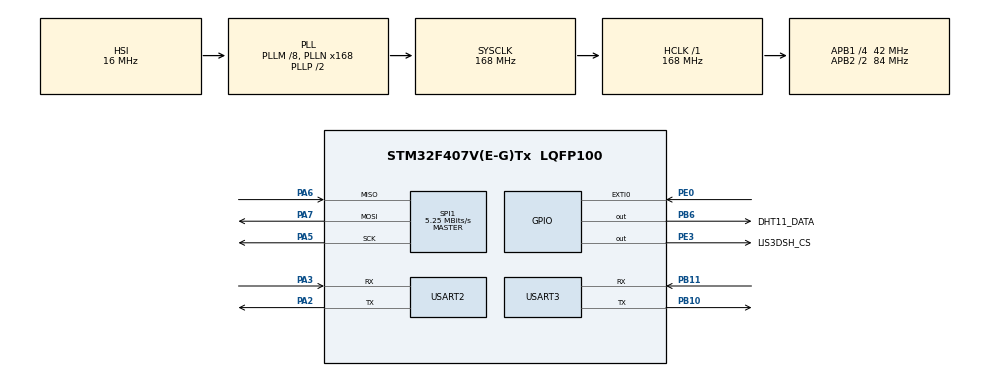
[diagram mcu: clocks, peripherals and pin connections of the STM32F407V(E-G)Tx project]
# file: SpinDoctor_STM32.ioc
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ADC1.Channel-0\#ChannelRegularConversion=ADC_CHANNEL_TEMPSENSOR
ADC1.ContinuousConvMode=ENABLE
ADC1.DMAContinuousRequests=ENABLE
ADC1.NbrOfConversionFlag=1
ADC1.Rank-0\#ChannelRegularConversion=1
ADC1.SamplingTime-0\#ChannelRegularConversion=ADC_SAMPLETIME_480CYCLES
ADC1.master=1
Dma.ADC1.2.Direction=DMA_PERIPH_TO_MEMORY
Dma.ADC1.2.FIFOMode=DMA_FIFOMODE_DISABLE
Dma.ADC1.2.Instance=DMA2_Stream4
Dma.ADC1.2.MemDataAlignment=DMA_MDATAALIGN_HALFWORD
Dma.ADC1.2.MemInc=DMA_MINC_ENABLE
Dma.ADC1.2.Mode=DMA_CIRCULAR
Dma.ADC1.2.PeriphDataAlignment=DMA_PDATAALIGN_HALFWORD
Dma.ADC1.2.PeriphInc=DMA_PINC_DISABLE
Dma.ADC1.2.Priority=DMA_PRIORITY_LOW
Dma.Request0=SPI1_RX
Dma.Request1=SPI1_TX
Dma.Request2=ADC1
Dma.Request3=USART2_TX
Dma.SPI1_RX.0.Direction=DMA_PERIPH_TO_MEMORY
Dma.SPI1_RX.0.FIFOMode=DMA_FIFOMODE_DISABLE
Dma.SPI1_RX.0.Instance=DMA2_Stream0
Dma.SPI1_RX.0.MemDataAlignment=DMA_MDATAALIGN_BYTE
Dma.SPI1_RX.0.MemInc=DMA_MINC_ENABLE
Dma.SPI1_RX.0.Mode=DMA_NORMAL
Dma.SPI1_RX.0.PeriphDataAlignment=DMA_PDATAALIGN_BYTE
Dma.SPI1_RX.0.PeriphInc=DMA_PINC_DISABLE
Dma.SPI1_RX.0.Priority=DMA_PRIORITY_LOW
Dma.SPI1_TX.1.Direction=DMA_MEMORY_TO_PERIPH
Dma.SPI1_TX.1.FIFOMode=DMA_FIFOMODE_DISABLE
Dma.SPI1_TX.1.Instance=DMA2_Stream3
Dma.SPI1_TX.1.MemDataAlignment=DMA_MDATAALIGN_BYTE
Dma.SPI1_TX.1.MemInc=DMA_MINC_ENABLE
Dma.SPI1_TX.1.Mode=DMA_NORMAL
Dma.SPI1_TX.1.PeriphDataAlignment=DMA_PDATAALIGN_BYTE
Dma.SPI1_TX.1.PeriphInc=DMA_PINC_DISABLE
Dma.SPI1_TX.1.Priority=DMA_PRIORITY_LOW
Dma.USART2_TX.3.Direction=DMA_MEMORY_TO_PERIPH
Dma.USART2_TX.3.FIFOMode=DMA_FIFOMODE_DISABLE
Dma.USART2_TX.3.Instance=DMA1_Stream6
Dma.USART2_TX.3.MemDataAlignment=DMA_MDATAALIGN_BYTE
Dma.USART2_TX.3.MemInc=DMA_MINC_ENABLE
Dma.USART2_TX.3.Mode=DMA_NORMAL
Dma.USART2_TX.3.PeriphDataAlignment=DMA_PDATAALIGN_BYTE
Dma.USART2_TX.3.PeriphInc=DMA_PINC_DISABLE
Dma.USART2_TX.3.Priority=DMA_PRIORITY_LOW
FREERTOS.BinarySemaphores01=uartTxSemaphore,Dynamic,NULL,Available;captureDataReady,Dynamic,NULL,Available;captureRxByteReady,Dynamic,NULL,Available
FREERTOS.Mutexes01=diagnosticsMutex,Dynamic,NULL,Available;printfMutex,Dynamic,NULL,Available
FREERTOS.Tasks01=AccelTask,0,512,StartAccelTask,Default,NULL,Dynamic,NULL,NULL;DHT11Task,-2,256,StartDHT11Task,Default,NULL,Dynamic,NULL,NULL;WatchdogTask,-2,512,StartWatchdogTask,Default,NULL,Dynamic,NULL,NULL;CaptureTask,-1,512,StartCaptureTask,Default,NULL,Dynamic,NULL,NULL;InferenceTask,-1,1024,StartInferenceTask,Default,NULL,Dynamic,NULL,NULL
FREERTOS.configCHECK_FOR_STACK_OVERFLOW=2
FREERTOS.configENABLE_FPU=1
FREERTOS.configUSE_NEWLIB_REENTRANT=1
IWDG.Prescaler=IWDG_PRESCALER_32
IWDG.Reload=1999
Mcu.Family=STM32F4
Mcu.Name=STM32F407V(E-G)Tx
Mcu.Package=LQFP100
NVIC.DMA1_Stream6_IRQn=true\:5\:0\:false\:false\:true\:true\:false\:true\:true
NVIC.DMA2_Stream0_IRQn=true\:5\:0\:false\:false\:true\:true\:false\:true\:true
NVIC.DMA2_Stream3_IRQn=true\:5\:0\:false\:false\:true\:true\:false\:true\:true
NVIC.DMA2_Stream4_IRQn=true\:5\:0\:false\:false\:true\:true\:false\:true\:true
NVIC.EXTI0_IRQn=true\:5\:0\:false\:false\:true\:true\:true\:true\:true
NVIC.PriorityGroup=NVIC_PRIORITYGROUP_4
NVIC.SPI1_IRQn=true\:5\:0\:false\:false\:true\:true\:true\:true\:true
NVIC.TIM6_DAC_IRQn=true\:15\:0\:false\:false\:true\:false\:false\:true\:true
NVIC.TimeBase=TIM6_DAC_IRQn
NVIC.TimeBaseIP=TIM6
NVIC.USART2_IRQn=true\:5\:0\:false\:false\:true\:true\:true\:true\:true
PA2.Mode=Asynchronous
PA2.Signal=USART2_TX
PA3.Mode=Asynchronous
PA3.Signal=USART2_RX
PA5.Mode=Full_Duplex_Master
PA5.Signal=SPI1_SCK
PA6.Mode=Full_Duplex_Master
PA6.Signal=SPI1_MISO
PA7.Mode=Full_Duplex_Master
PA7.Signal=SPI1_MOSI
PB10.Mode=Asynchronous
PB10.Signal=USART3_TX
PB11.Mode=Asynchronous
PB11.Signal=USART3_RX
PB6.GPIO_Label=DHT11_DATA
PB6.GPIO_ModeDefaultOutputPP=GPIO_MODE_OUTPUT_OD
PB6.GPIO_PuPd=GPIO_PULLUP
PB6.PinState=GPIO_PIN_SET
PB6.Signal=GPIO_Output
PE0.Signal=GPXTI0
PE3.GPIO_Label=LIS3DSH_CS
PE3.PinState=GPIO_PIN_SET
PE3.Signal=GPIO_Output
ProjectManager.HeapSize=0x200
ProjectManager.StackSize=0x400
ProjectManager.TargetToolchain=STM32CubeIDE
RCC.48MHZClocksFreq_Value=84000000
RCC.AHBFreq_Value=168000000
RCC.APB1CLKDivider=RCC_HCLK_DIV4
RCC.APB1Freq_Value=42000000
RCC.APB1TimFreq_Value=84000000
RCC.APB2CLKDivider=RCC_HCLK_DIV2
RCC.APB2Freq_Value=84000000
RCC.APB2TimFreq_Value=168000000
RCC.CortexFreq_Value=168000000
RCC.HCLKFreq_Value=168000000
RCC.HSE_VALUE=25000000
RCC.HSI_VALUE=16000000
RCC.LSE_VALUE=32768
RCC.PLLM=8
RCC.PLLN=168
RCC.SYSCLKFreq_VALUE=168000000
RCC.SYSCLKSource=RCC_SYSCLKSOURCE_PLLCLK
RCC.VCOOutputFreq_Value=336000000
SPI1.BaudRatePrescaler=SPI_BAUDRATEPRESCALER_16
SPI1.CLKPhase=SPI_PHASE_2EDGE
SPI1.CLKPolarity=SPI_POLARITY_HIGH
SPI1.CalculateBaudRate=5.25 MBits/s
SPI1.Direction=SPI_DIRECTION_2LINES
SPI1.Mode=SPI_MODE_MASTER
SPI1.VirtualType=VM_MASTER
USART2.VirtualMode=VM_ASYNC
USART3.VirtualMode=VM_ASYNC
VP_ADC1_TempSens_Input.Mode=IN-TempSens
VP_FREERTOS_VS_CMSIS_V1.Mode=CMSIS_V1
VP_IWDG_VS_IWDG.Mode=IWDG_Activate
VP_SYS_VS_tim6.Mode=TIM6
board=custom

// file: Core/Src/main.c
/* USER CODE BEGIN Header */
/**
  ******************************************************************************
  * @file           : main.c
  * @brief          : Main program body
  ******************************************************************************
  * @attention
  *
  * Copyright (c) 2026 STMicroelectronics.
  * All rights reserved.
  *
  * This software is licensed under terms that can be found in the LICENSE file
  * in the root directory of this software component.
  * If no LICENSE file comes with this software, it is provided AS-IS.
  *
  ******************************************************************************
  */
/* USER CODE END Header */
#include "main.h"
#include "cmsis_os.h"

/* USER CODE BEGIN Includes */
#include <stdio.h>
#include <LIS3DSHTR.h>
#include "DHT11.h"
#include "NanoEdgeAI.h"

/* USER CODE END Includes */

ADC_HandleTypeDef hadc1;
DMA_HandleTypeDef hdma_adc1;

IWDG_HandleTypeDef hiwdg;

SPI_HandleTypeDef hspi1;
DMA_HandleTypeDef hdma_spi1_rx;
DMA_HandleTypeDef hdma_spi1_tx;

UART_HandleTypeDef huart2;
UART_HandleTypeDef huart3;
DMA_HandleTypeDef hdma_usart2_tx;

osThreadId AccelTaskHandle;
osThreadId DHT11TaskHandle;
osThreadId WatchdogTaskHandle;
osThreadId CaptureTaskHandle;
osThreadId InferenceTaskHandle;
osMutexId diagnosticsMutexHandle;
osMutexId printfMutexHandle;
osSemaphoreId uartTxSemaphoreHandle;
osSemaphoreId captureDataReadyHandle;
osSemaphoreId captureRxByteReadyHandle;
/* USER CODE BEGIN PV */
LIS3_HandleTypeDef hlis;
LIS3_DataTypeDef   data;

/* Single-element circular DMA buffer for ADC1 temperature reads.
 * volatile because DMA writes it from hardware, not CPU code.
 * uint16_t because ADC is 12-bit (max 4095), needs 16-bit storage. */
volatile uint16_t adc_temp_raw;

/* DWT cycle counter, used for precise microsecond delays needed by
 * the 1-Wire protocol. Cortex-M4 core feature, not a normal STM32
 * peripheral, has nothing to do with HAL and needs no CubeMX setup. */
#define DWT_CYCCNT  (*(volatile uint32_t*)0xE0001004)
#define DWT_CTRL    (*(volatile uint32_t*)0xE0001000)
#define DEM_CR      (*(volatile uint32_t*)0xE000EDFC)

DiagnosticsData diagnostics = {0};

#define CAPTURE_BUF_SIZE 64   /* samples per axis per buffer, matches
                                 * original FFT window sizing rationale:
                                 * enough periods per buffer at expected
                                 * fan RPM, arbitrary otherwise for raw
                                 * capture, NanoEdge does its own windowing */
#define CAPTURE_WINDOW_COUNT 350   /* ~56s at 400Hz / 64-sample windows,
 	 	 	 	 	 	 	 	 	 * bumped from 156 to give NanoEdge more
 	 	 	 	 	 	 	 	 	 * examples of speed1_healthy specifically */

int16_t capture_buf_x[2][CAPTURE_BUF_SIZE];
int16_t capture_buf_y[2][CAPTURE_BUF_SIZE];
int16_t capture_buf_z[2][CAPTURE_BUF_SIZE];
volatile uint8_t capture_fill_idx = 0;
volatile uint16_t capture_sample_count = 0;
volatile uint8_t capture_ready_idx = 0;

/* Set true only while an active capture window is streaming; AccelTask
 * checks this before bothering to fill the capture buffers or release
 * the semaphore, so there's zero extra work happening between capture
 * sessions. */
volatile uint8_t capture_active = 0;

uint8_t uart_rx_byte;
/* USER CODE END PV */

void SystemClock_Config(void);
static void MX_GPIO_Init(void);
static void MX_DMA_Init(void);
static void MX_SPI1_Init(void);
static void MX_USART2_UART_Init(void);
static void MX_ADC1_Init(void);
static void MX_IWDG_Init(void);
static void MX_USART3_UART_Init(void);
void StartAccelTask(void const * argument);
void StartDHT11Task(void const * argument);
void StartWatchdogTask(void const * argument);
void StartCaptureTask(void const * argument);
void StartInferenceTask(void const * argument);

int main(void)
{

  /* MCU Configuration--------------------------------------------------------*/

  /* Reset of all peripherals, Initializes the Flash interface and the Systick. */
  HAL_Init();

  /* Configure the system clock */
  SystemClock_Config();

  /* Initialize all configured peripherals */
  MX_GPIO_Init();
  MX_DMA_Init();
  MX_SPI1_Init();
  MX_USART2_UART_Init();
  MX_ADC1_Init();
  MX_IWDG_Init();
  MX_USART3_UART_Init();
  /* USER CODE BEGIN 2 */
  hlis.hspi    = &hspi1;
    hlis.cs_port = GPIOE;
    hlis.cs_pin  = GPIO_PIN_3;

    LIS3_Init(&hlis);                                                /* sets ODR=400Hz, all axes enabled */
    LIS3_WriteReg(&hlis, LIS3_CTRL_REG3, LIS3_CTRL_REG3_DRDY_INT1);   /* NEW: routes DRDY to INT1/PE0, without
                                                                        this the chip never pulses PE0 and
                                                                        no EXTI interrupt ever fires */
    /* Enable the DWT cycle counter. Required by delay_us() and DHT11's
         * bit-timing. Missing since Session 8 cleanup, silently hangs
         * DHT11Task forever without it, no crash, just permanently stuck. */
        DEM_CR |= (1 << 24);
        DWT_CYCCNT = 0;
        DWT_CTRL |= 1;

    /* Start ADC1 in DMA circular mode. From this point the DMA keeps
     * adc_temp_raw updated automatically on every completed conversion,
     * no further software trigger needed. HAL_ADC_Start_DMA takes the
     * buffer pointer and length (1 element here, one channel only). */
    HAL_ADC_Start_DMA(&hadc1, (uint32_t*)&adc_temp_raw, 1);

    /* Start interrupt-driven UART receive for the capture menu. Blocking/
     * polling-mode HAL_UART_Receive doesn't coexist safely with DMA-based
     * TX already active on this same UART (used by printf), it can return
     * immediately with a busy/error state instead of genuinely blocking.
     * Interrupt-driven RX avoids that conflict entirely. */
    HAL_UART_Receive_IT(&huart2, &uart_rx_byte, 1);

    /* Initialize the NanoEdge AI classification model, loading the
     * pretrained SVM library generated from today's benchmark. Must be
     * called once before any neai_classification() calls. */
    enum neai_state neai_init_state = neai_classification_init();
    if (neai_init_state != NEAI_OK)
    {
        /* If the model fails to load, halt here rather than silently
         * running with an uninitialized classifier. */
        Error_Handler();
    }
  /* USER CODE END 2 */

  /* Create the mutex(es) */
  /* definition and creation of diagnosticsMutex */
  osMutexDef(diagnosticsMutex);
  diagnosticsMutexHandle = osMutexCreate(osMutex(diagnosticsMutex));

  /* definition and creation of printfMutex */
  osMutexDef(printfMutex);
  printfMutexHandle = osMutexCreate(osMutex(printfMutex));

  /* Create the semaphores(s) */
  /* definition and creation of uartTxSemaphore */
  osSemaphoreDef(uartTxSemaphore);
  uartTxSemaphoreHandle = osSemaphoreCreate(osSemaphore(uartTxSemaphore), 1);

  /* definition and creation of captureDataReady */
  osSemaphoreDef(captureDataReady);
  captureDataReadyHandle = osSemaphoreCreate(osSemaphore(captureDataReady), 1);

  /* definition and creation of captureRxByteReady */
  osSemaphoreDef(captureRxByteReady);
  captureRxByteReadyHandle = osSemaphoreCreate(osSemaphore(captureRxByteReady), 1);

  /* USER CODE BEGIN RTOS_SEMAPHORES */
  /* captureDataReadyHandle is created with 1 token by default in
   * CMSIS_V1 regardless of the "Available" GUI setting, drain it here
   * so CaptureTask correctly blocks until AccelTask actually signals a
   * completed window, rather than running once immediately on boot. */
  osSemaphoreWait(captureDataReadyHandle, 0);

  osSemaphoreWait(captureRxByteReadyHandle, 0);
  /* add semaphores, ... */
  /* USER CODE END RTOS_SEMAPHORES */

  /* Create the thread(s) */
  /* definition and creation of AccelTask */
  osThreadDef(AccelTask, StartAccelTask, osPriorityNormal, 0, 512);
  AccelTaskHandle = osThreadCreate(osThread(AccelTask), NULL);

  /* definition and creation of DHT11Task */
  osThreadDef(DHT11Task, StartDHT11Task, osPriorityLow, 0, 256);
  DHT11TaskHandle = osThreadCreate(osThread(DHT11Task), NULL);

  /* definition and creation of WatchdogTask */
  osThreadDef(WatchdogTask, StartWatchdogTask, osPriorityLow, 0, 512);
  WatchdogTaskHandle = osThreadCreate(osThread(WatchdogTask), NULL);

  /* definition and creation of CaptureTask */
  osThreadDef(CaptureTask, StartCaptureTask, osPriorityBelowNormal, 0, 512);
  CaptureTaskHandle = osThreadCreate(osThread(CaptureTask), NULL);

  /* definition and creation of InferenceTask */
  osThreadDef(InferenceTask, StartInferenceTask, osPriorityBelowNormal, 0, 1024);
  InferenceTaskHandle = osThreadCreate(osThread(InferenceTask), NULL);

  /* USER CODE BEGIN RTOS_THREADS */
  if (AccelTaskHandle == NULL)     { HAL_UART_Transmit(&huart2, (uint8_t*)"AccelTask FAILED\r\n", 18, HAL_MAX_DELAY); }
  if (DHT11TaskHandle == NULL)     { HAL_UART_Transmit(&huart2, (uint8_t*)"DHT11Task FAILED\r\n", 18, HAL_MAX_DELAY); }
  if (WatchdogTaskHandle == NULL)  { HAL_UART_Transmit(&huart2, (uint8_t*)"WatchdogTask FAILED\r\n", 21, HAL_MAX_DELAY); }
  if (CaptureTaskHandle == NULL)   { HAL_UART_Transmit(&huart2, (uint8_t*)"CaptureTask FAILED\r\n", 20, HAL_MAX_DELAY); }
  if (InferenceTaskHandle == NULL) { HAL_UART_Transmit(&huart2, (uint8_t*)"InferenceTask FAILED\r\n", 22, HAL_MAX_DELAY); }

  /* add threads, ... */
  /* USER CODE END RTOS_THREADS */

  /* Start scheduler */
  osKernelStart();

  /* We should never get here as control is now taken by the scheduler */

  /* Infinite loop */
  while (1)
  {

  }
}

void SystemClock_Config(void)
{
  RCC_OscInitTypeDef RCC_OscInitStruct = {0};
  RCC_ClkInitTypeDef RCC_ClkInitStruct = {0};

  /** Configure the main internal regulator output voltage
  */
  __HAL_RCC_PWR_CLK_ENABLE();
  __HAL_PWR_VOLTAGESCALING_CONFIG(PWR_REGULATOR_VOLTAGE_SCALE1);

  /** Initializes the RCC Oscillators according to the specified parameters
  * in the RCC_OscInitTypeDef structure.
  */
  RCC_OscInitStruct.OscillatorType = RCC_OSCILLATORTYPE_HSI|RCC_OSCILLATORTYPE_LSI;
  RCC_OscInitStruct.HSIState = RCC_HSI_ON;
  RCC_OscInitStruct.HSICalibrationValue = RCC_HSICALIBRATION_DEFAULT;
  RCC_OscInitStruct.LSIState = RCC_LSI_ON;
  RCC_OscInitStruct.PLL.PLLState = RCC_PLL_ON;
  RCC_OscInitStruct.PLL.PLLSource = RCC_PLLSOURCE_HSI;
  RCC_OscInitStruct.PLL.PLLM = 8;
  RCC_OscInitStruct.PLL.PLLN = 168;
  RCC_OscInitStruct.PLL.PLLP = RCC_PLLP_DIV2;
  RCC_OscInitStruct.PLL.PLLQ = 4;
  if (HAL_RCC_OscConfig(&RCC_OscInitStruct) != HAL_OK)
  {
    Error_Handler();
  }

  /** Initializes the CPU, AHB and APB buses clocks
  */
  RCC_ClkInitStruct.ClockType = RCC_CLOCKTYPE_HCLK|RCC_CLOCKTYPE_SYSCLK
                              |RCC_CLOCKTYPE_PCLK1|RCC_CLOCKTYPE_PCLK2;
  RCC_ClkInitStruct.SYSCLKSource = RCC_SYSCLKSOURCE_PLLCLK;
  RCC_ClkInitStruct.AHBCLKDivider = RCC_SYSCLK_DIV1;
  RCC_ClkInitStruct.APB1CLKDivider = RCC_HCLK_DIV4;
  RCC_ClkInitStruct.APB2CLKDivider = RCC_HCLK_DIV2;

  if (HAL_RCC_ClockConfig(&RCC_ClkInitStruct, FLASH_LATENCY_5) != HAL_OK)
  {
    Error_Handler();
  }
}

static void MX_ADC1_Init(void)
{

  ADC_ChannelConfTypeDef sConfig = {0};

  /** Configure the global features of the ADC (Clock, Resolution, Data Alignment and number of conversion)
  */
  hadc1.Instance = ADC1;
  hadc1.Init.ClockPrescaler = ADC_CLOCK_SYNC_PCLK_DIV4;
  hadc1.Init.Resolution = ADC_RESOLUTION_12B;
  hadc1.Init.ScanConvMode = DISABLE;
  hadc1.Init.ContinuousConvMode = ENABLE;
  hadc1.Init.DiscontinuousConvMode = DISABLE;
  hadc1.Init.ExternalTrigConvEdge = ADC_EXTERNALTRIGCONVEDGE_NONE;
  hadc1.Init.ExternalTrigConv = ADC_SOFTWARE_START;
  hadc1.Init.DataAlign = ADC_DATAALIGN_RIGHT;
  hadc1.Init.NbrOfConversion = 1;
  hadc1.Init.DMAContinuousRequests = ENABLE;
  hadc1.Init.EOCSelection = ADC_EOC_SINGLE_CONV;
  if (HAL_ADC_Init(&hadc1) != HAL_OK)
  {
    Error_Handler();
  }

  /** Configure for the selected ADC regular channel its corresponding rank in the sequencer and its sample time.
  */
  sConfig.Channel = ADC_CHANNEL_TEMPSENSOR;
  sConfig.Rank = 1;
  sConfig.SamplingTime = ADC_SAMPLETIME_480CYCLES;
  if (HAL_ADC_ConfigChannel(&hadc1, &sConfig) != HAL_OK)
  {
    Error_Handler();
  }

}

static void MX_IWDG_Init(void)
{

  hiwdg.Instance = IWDG;
  hiwdg.Init.Prescaler = IWDG_PRESCALER_32;
  hiwdg.Init.Reload = 1999;
  if (HAL_IWDG_Init(&hiwdg) != HAL_OK)
  {
    Error_Handler();
  }

}

static void MX_SPI1_Init(void)
{

  /* SPI1 parameter configuration*/
  hspi1.Instance = SPI1;
  hspi1.Init.Mode = SPI_MODE_MASTER;
  hspi1.Init.Direction = SPI_DIRECTION_2LINES;
  hspi1.Init.DataSize = SPI_DATASIZE_8BIT;
  hspi1.Init.CLKPolarity = SPI_POLARITY_HIGH;
  hspi1.Init.CLKPhase = SPI_PHASE_2EDGE;
  hspi1.Init.NSS = SPI_NSS_SOFT;
  hspi1.Init.BaudRatePrescaler = SPI_BAUDRATEPRESCALER_16;
  hspi1.Init.FirstBit = SPI_FIRSTBIT_MSB;
  hspi1.Init.TIMode = SPI_TIMODE_DISABLE;
  hspi1.Init.CRCCalculation = SPI_CRCCALCULATION_DISABLE;
  hspi1.Init.CRCPolynomial = 10;
  if (HAL_SPI_Init(&hspi1) != HAL_OK)
  {
    Error_Handler();
  }

}

static void MX_USART2_UART_Init(void)
{

  huart2.Instance = USART2;
  huart2.Init.BaudRate = 115200;
  huart2.Init.WordLength = UART_WORDLENGTH_8B;
  huart2.Init.StopBits = UART_STOPBITS_1;
  huart2.Init.Parity = UART_PARITY_NONE;
  huart2.Init.Mode = UART_MODE_TX_RX;
  huart2.Init.HwFlowCtl = UART_HWCONTROL_NONE;
  huart2.Init.OverSampling = UART_OVERSAMPLING_16;
  if (HAL_UART_Init(&huart2) != HAL_OK)
  {
    Error_Handler();
  }

}

static void MX_USART3_UART_Init(void)
{

  huart3.Instance = USART3;
  huart3.Init.BaudRate = 115200;
  huart3.Init.WordLength = UART_WORDLENGTH_8B;
  huart3.Init.StopBits = UART_STOPBITS_1;
  huart3.Init.Parity = UART_PARITY_NONE;
  huart3.Init.Mode = UART_MODE_TX_RX;
  huart3.Init.HwFlowCtl = UART_HWCONTROL_NONE;
  huart3.Init.OverSampling = UART_OVERSAMPLING_16;
  if (HAL_UART_Init(&huart3) != HAL_OK)
  {
    Error_Handler();
  }

}

static void MX_DMA_Init(void)
{

  /* DMA controller clock enable */
  __HAL_RCC_DMA2_CLK_ENABLE();
  __HAL_RCC_DMA1_CLK_ENABLE();

  /* DMA interrupt init */
  /* DMA1_Stream6_IRQn interrupt configuration */
  HAL_NVIC_SetPriority(DMA1_Stream6_IRQn, 5, 0);
  HAL_NVIC_EnableIRQ(DMA1_Stream6_IRQn);
  /* DMA2_Stream0_IRQn interrupt configuration */
  HAL_NVIC_SetPriority(DMA2_Stream0_IRQn, 5, 0);
  HAL_NVIC_EnableIRQ(DMA2_Stream0_IRQn);
  /* DMA2_Stream3_IRQn interrupt configuration */
  HAL_NVIC_SetPriority(DMA2_Stream3_IRQn, 5, 0);
  HAL_NVIC_EnableIRQ(DMA2_Stream3_IRQn);
  /* DMA2_Stream4_IRQn interrupt configuration */
  HAL_NVIC_SetPriority(DMA2_Stream4_IRQn, 5, 0);
  HAL_NVIC_EnableIRQ(DMA2_Stream4_IRQn);

}

static void MX_GPIO_Init(void)
{
  GPIO_InitTypeDef GPIO_InitStruct = {0};

  /* GPIO Ports Clock Enable */
  __HAL_RCC_GPIOE_CLK_ENABLE();
  __HAL_RCC_GPIOA_CLK_ENABLE();
  __HAL_RCC_GPIOB_CLK_ENABLE();

  /*Configure GPIO pin Output Level */
  HAL_GPIO_WritePin(LIS3DSH_CS_GPIO_Port, LIS3DSH_CS_Pin, GPIO_PIN_SET);

  /*Configure GPIO pin Output Level */
  HAL_GPIO_WritePin(DHT11_DATA_GPIO_Port, DHT11_DATA_Pin, GPIO_PIN_SET);

  /*Configure GPIO pin : LIS3DSH_CS_Pin */
  GPIO_InitStruct.Pin = LIS3DSH_CS_Pin;
  GPIO_InitStruct.Mode = GPIO_MODE_OUTPUT_PP;
  GPIO_InitStruct.Pull = GPIO_NOPULL;
  GPIO_InitStruct.Speed = GPIO_SPEED_FREQ_LOW;
  HAL_GPIO_Init(LIS3DSH_CS_GPIO_Port, &GPIO_InitStruct);

  /*Configure GPIO pin : DHT11_DATA_Pin */
  GPIO_InitStruct.Pin = DHT11_DATA_Pin;
  GPIO_InitStruct.Mode = GPIO_MODE_OUTPUT_OD;
  GPIO_InitStruct.Pull = GPIO_PULLUP;
  GPIO_InitStruct.Speed = GPIO_SPEED_FREQ_LOW;
  HAL_GPIO_Init(DHT11_DATA_GPIO_Port, &GPIO_InitStruct);

  /*Configure GPIO pin : PE0 */
  GPIO_InitStruct.Pin = GPIO_PIN_0;
  GPIO_InitStruct.Mode = GPIO_MODE_IT_RISING;
  GPIO_InitStruct.Pull = GPIO_NOPULL;
  HAL_GPIO_Init(GPIOE, &GPIO_InitStruct);

  /* EXTI interrupt init*/
  HAL_NVIC_SetPriority(EXTI0_IRQn, 5, 0);
  HAL_NVIC_EnableIRQ(EXTI0_IRQn);

}

/* USER CODE BEGIN 4 */
int _write(int file, char *ptr, int len)
{
    osSemaphoreWait(uartTxSemaphoreHandle, osWaitForever);

    HAL_StatusTypeDef status = HAL_UART_Transmit_DMA(&huart2, (uint8_t*)ptr, len);
    if (status != HAL_OK)
    {
        /* DMA transfer never actually started, don't wait for a callback
         * that will never fire. Release immediately and bail. */
        osSemaphoreRelease(uartTxSemaphoreHandle);
        return 0;
    }

    /* Bounded wait instead of osWaitForever, so a stuck transfer surfaces
     * as a dropped line instead of a silent whole-system freeze. */
    osStatus wait_result = osSemaphoreWait(uartTxSemaphoreHandle, 200);
    if (wait_result != osOK)
    {
        /* Transfer never completed within 200ms, something is stuck.
         * Don't propagate the hang further, release and move on. */
        osSemaphoreRelease(uartTxSemaphoreHandle);
        return 0;
    }

    osSemaphoreRelease(uartTxSemaphoreHandle);
    return len;
}
/* FreeRTOS calls this automatically if stack overflow checking
 * (Method 2) detects a task has overrun its allocated stack. Uses
 * direct blocking HAL_UART_Transmit, not printf: the offending
 * task's stack may already be corrupted, and printf's internal
 * formatting pushes more onto that same stack, risking further
 * corruption before the message gets out. */
void vApplicationStackOverflowHook(TaskHandle_t xTask, char *pcTaskName)
{
    char msg[64];
    int len = 0;
    const char *prefix = "!!! STACK OVERFLOW in task: ";
    while (prefix[len]) { msg[len] = prefix[len]; len++; }
    int i = 0;
    while (pcTaskName[i] && len < 60) { msg[len++] = pcTaskName[i++]; }
    msg[len++] = '\r';
    msg[len++] = '\n';

    HAL_UART_Transmit(&huart2, (uint8_t*)msg, len, HAL_MAX_DELAY);

    while(1) { }
}
/* HAL calls this automatically once a UART DMA transmit completes.
 * Releasing the semaphore here, not inside _write() itself, is what
 * makes this safe across tasks, the next printf can't start a new
 * transfer until the hardware confirms the previous one is done. */
void HAL_UART_TxCpltCallback(UART_HandleTypeDef *huart)
{
    if (huart->Instance == USART2)
    {
        osSemaphoreRelease(uartTxSemaphoreHandle);
    }
}

/* Fires on every DRDY rising edge from the LIS3DSH, i.e. every new
 * sample at 400Hz. Kicks off the DMA burst read; the rest of the
 * sequence (Tx complete -> Rx complete) continues in the two
 * callbacks below, this function does not wait for any of it. */
void HAL_GPIO_EXTI_Callback(uint16_t GPIO_Pin)
{
    if (GPIO_Pin == GPIO_PIN_0)
    {
        LIS3_StartBurstRead_DMA(&hlis, &data);
    }
}

/* HAL calls this automatically once the 1-byte address transmit (started
 * inside LIS3_StartBurstRead_DMA) completes. Library handler starts the
 * matching 6-byte receive. */
void HAL_SPI_TxCpltCallback(SPI_HandleTypeDef *hspi)
{
    LIS3_DMA_TxCpltHandler();
}

/* HAL calls this once the 6 data bytes have landed. Library handler
 * raises CS, reconstructs X/Y/Z, and sets LIS3_DataReady for the main
 * loop to pick up. */
void HAL_SPI_RxCpltCallback(SPI_HandleTypeDef *hspi)
{
    LIS3_DMA_RxCpltHandler();
}

/* Busy-wait for a precise number of microseconds, using the DWT cycle
 * counter. SystemCoreClock is 168000000 (168MHz) in this project, so
 * cycles-per-microsecond = 168. Unsigned subtraction handles the
 * counter wrapping the same way the timer capture did earlier. */
void delay_us(uint32_t us)
{
    uint32_t start = DWT_CYCCNT;
    uint32_t cycles = us * (SystemCoreClock / 1000000);
    while ((DWT_CYCCNT - start) < cycles) { }
}

/* HAL calls this automatically once one byte has been received via
 * HAL_UART_Receive_IT. Releases the semaphore CaptureTask blocks on,
 * then immediately re-arms itself to listen for the next byte. */
void HAL_UART_RxCpltCallback(UART_HandleTypeDef *huart)
{
    if (huart->Instance == USART2)
    {
        osSemaphoreRelease(captureRxByteReadyHandle);
        HAL_UART_Receive_IT(&huart2, &uart_rx_byte, 1);
    }
}

/* USER CODE END 4 */

void StartAccelTask(void const * argument)
{
  /* USER CODE BEGIN 5 */
	for(;;)
		  {
		      if (LIS3_DataReady)
		      {
		          LIS3_DataReady = 0;

		          /* Buffer fill and semaphore release now happen on EVERY
		           * sample unconditionally, not just during a training
		           * capture. InferenceTask needs a continuous stream of
		           * windows during normal operation to do live classification;
		           * CaptureTask needs the same stream during a capture
		           * session. capture_active now only controls whether the
		           * throttled diagnostic X:Y:Z line also prints, it no longer
		           * gates whether data flows into the shared buffer at all. */
		          capture_buf_x[capture_fill_idx][capture_sample_count] = data.x;
		          capture_buf_y[capture_fill_idx][capture_sample_count] = data.y;
		          capture_buf_z[capture_fill_idx][capture_sample_count] = data.z;
		          capture_sample_count++;

		          if (capture_sample_count >= CAPTURE_BUF_SIZE)
		          {
		              capture_ready_idx = capture_fill_idx;
		              capture_fill_idx = 1 - capture_fill_idx;
		              capture_sample_count = 0;
		              osSemaphoreRelease(captureDataReadyHandle);
		          }

		          if (!capture_active)
		          {
		              /* Normal throttled diagnostic print, only when NOT
		               * capturing, keeps the UART stream clean and parseable
		               * during an active capture window. */
		              static uint16_t print_counter = 0;
		              if (++print_counter >= 40)
		              {
		                  print_counter = 0;

		                  osMutexWait(diagnosticsMutexHandle, osWaitForever);
		                  diagnostics.accel_x = data.x;
		                  diagnostics.accel_y = data.y;
		                  diagnostics.accel_z = data.z;
		                  osMutexRelease(diagnosticsMutexHandle);

		                  osMutexWait(printfMutexHandle, osWaitForever);
		                  printf("X:%d Y:%d Z:%d\r\n", data.x, data.y, data.z);
		                  osMutexRelease(printfMutexHandle);
		              }
		          }
		      }
		    osDelay(1);
		  }
  /* USER CODE END 5 */
}

void StartDHT11Task(void const * argument)
{
  /* USER CODE BEGIN StartDHT11Task */
	 osDelay(3000);   /* let power rails and the sensor itself settle before
	                       the very first 1-Wire transaction; avoids racing
	                       boot-time GPIO/timing edge cases */
  /* Infinite loop */
  for(;;)
  {
	  if (!capture_active)
	      {
	          DHT11_Data dht;
	          if (DHT11_Read(&dht))
	          {
	              osMutexWait(diagnosticsMutexHandle, osWaitForever);
	              diagnostics.humidity_int = dht.humidity_int;
	              diagnostics.humidity_dec = dht.humidity_dec;
	              diagnostics.temp_int     = dht.temp_int;
	              diagnostics.temp_dec     = dht.temp_dec;
	              osMutexRelease(diagnosticsMutexHandle);

	              osMutexWait(printfMutexHandle, osWaitForever);
	              printf("DHT11: %d.%d%% RH, %d.%dC\r\n",
	                     dht.humidity_int, dht.humidity_dec,
	                     dht.temp_int, dht.temp_dec);
	              osMutexRelease(printfMutexHandle);
	          }
	          else
	          {
	              osMutexWait(printfMutexHandle, osWaitForever);
	              printf("DHT11: read failed\r\n");
	              osMutexRelease(printfMutexHandle);
	          }
	      }
	      osDelay(3000);
  }
  /* USER CODE END StartDHT11Task */
}

void StartWatchdogTask(void const * argument)
{
  /* USER CODE BEGIN StartWatchdogTask */

	  /* Reset-cause check, printed once at boot so we can tell whether the
	   * last reset was a normal power-on, a manual reset, or the IWDG
	   * catching a genuine freeze elsewhere in the system. */
	    osMutexWait(printfMutexHandle, osWaitForever);
	    if (__HAL_RCC_GET_FLAG(RCC_FLAG_IWDGRST))
	        printf("RESET: IWDG\r\n");
	    else if (__HAL_RCC_GET_FLAG(RCC_FLAG_LPWRRST))
	        printf("RESET: LOW POWER / BROWNOUT\r\n");
	    else if (__HAL_RCC_GET_FLAG(RCC_FLAG_PORRST))
	        printf("RESET: POWER-ON\r\n");
	    else if (__HAL_RCC_GET_FLAG(RCC_FLAG_PINRST))
	        printf("RESET: PIN/NRST\r\n");
	    else
	        printf("RESET: OTHER/UNKNOWN\r\n");
	    osMutexRelease(printfMutexHandle);
	    __HAL_RCC_CLEAR_RESET_FLAGS();

	    /* Infinite loop */
	    for(;;)
	    {
	        /* Refresh every 500ms, comfortably under the 2-second IWDG
	         * window. This task only ever runs if the scheduler is still
	         * actually switching between tasks, if any task hangs hard
	         * enough to starve the scheduler entirely, this refresh stops
	         * happening and IWDG forces a full chip reset within 2 seconds. */
	        HAL_IWDG_Refresh(&hiwdg);
	        osDelay(500);
	    }

  /* USER CODE END StartWatchdogTask */
}

void StartCaptureTask(void const * argument)
{
  /* USER CODE BEGIN StartCaptureTask */
	 uint8_t rx_byte;
	  char speed_char = 0;
	  char class_char = 0;

	  for(;;)
	  {
	      /* --- Menu: prompt for speed + class --- */
		  osMutexWait(printfMutexHandle, osWaitForever);
		  printf("\r\n=== SpinDoctor Capture Menu ===\r\n"
		         "Speed:  1) Low  2) Medium  3) High\r\n"
		         "Class:  H) Healthy  I) Imbalance  O) Obstruction\r\n"
		         "Enter as two chars, e.g. \"1H\": ");
		  osMutexRelease(printfMutexHandle);

	      /* Blocking receive, one byte at a time. This task has nothing
	       * else to do while waiting for menu input, so a simple blocking
	       * HAL_UART_Receive call here is fine, no interrupt/queue needed. */
		  osSemaphoreWait(captureRxByteReadyHandle, osWaitForever);
		  rx_byte = uart_rx_byte;
	      speed_char = (char)rx_byte;
	      osSemaphoreWait(captureRxByteReadyHandle, osWaitForever);
	      rx_byte = uart_rx_byte;
	      class_char = (char)rx_byte;

	      uint8_t valid_speed = (speed_char == '1' || speed_char == '2' || speed_char == '3');
	      uint8_t valid_class = (class_char == 'H' || class_char == 'I' || class_char == 'O' ||
	                              class_char == 'h' || class_char == 'i' || class_char == 'o');

	      if (!valid_speed || !valid_class)
	      {
	          osMutexWait(printfMutexHandle, osWaitForever);
	          printf("\r\nInvalid input, try again.\r\n");
	          osMutexRelease(printfMutexHandle);
	          continue;
	      }

	      const char *class_name;
	      switch (class_char)
	      {
	          case 'H': case 'h': class_name = "healthy";    break;
	          case 'I': case 'i': class_name = "imbalance";  break;
	          default:            class_name = "obstruction"; break;
	      }
	      char label[32];
	      sprintf(label, "speed%c_%s", speed_char, class_name);

	      osMutexWait(printfMutexHandle, osWaitForever);
	      printf("\r\nSelected: Speed %c, %s. Set up the fan now.\r\n"
	             "Send 'S' when stable and ready to capture, 'X' to cancel and return to menu.\r\n",
	             speed_char, class_name);
	      osMutexRelease(printfMutexHandle);

	      char cmd;
	      do
	      {
	    	  osSemaphoreWait(captureRxByteReadyHandle, osWaitForever);
	    	     cmd = (char)uart_rx_byte;
	      } while (cmd != 'S' && cmd != 's' && cmd != 'X' && cmd != 'x');

	      if (cmd == 'X' || cmd == 'x')
	      {
	          osMutexWait(printfMutexHandle, osWaitForever);
	          printf("\r\nCancelled, returning to menu.\r\n");
	          osMutexRelease(printfMutexHandle);
	          continue;
	      }

	      /* --- Active capture --- */
	      osMutexWait(printfMutexHandle, osWaitForever);
	      printf("\r\n=== CAPTURE START: %s ===\r\n", label);
	      osMutexRelease(printfMutexHandle);

	      osSemaphoreWait(captureDataReadyHandle, 0);
	      capture_fill_idx = 0;
	      capture_sample_count = 0;
	      capture_active = 1;

	      for (int w = 0; w < CAPTURE_WINDOW_COUNT; w++)
	      {
	          osSemaphoreWait(captureDataReadyHandle, osWaitForever);
	          uint8_t idx = capture_ready_idx;

	          static char row_buf[4][6000];
	                   static uint8_t row_buf_idx = 0;

	                   int pos = 0;
	                   for (int i = 0; i < CAPTURE_BUF_SIZE; i++)
	                   {
	                       pos += sprintf(row_buf[row_buf_idx] + pos, "%d,%d,%d",
	                                      capture_buf_x[idx][i],
	                                      capture_buf_y[idx][i],
	                                      capture_buf_z[idx][i]);
	                       if (i < CAPTURE_BUF_SIZE - 1) row_buf[row_buf_idx][pos++] = ',';
	                   }
	                   row_buf[row_buf_idx][pos++] = '\r';
	                   row_buf[row_buf_idx][pos++] = '\n';
	                   row_buf[row_buf_idx][pos] = '\0';

	                   uint32_t t_start = DWT_CYCCNT;

	                             osMutexWait(printfMutexHandle, osWaitForever);
	                             printf("%s", row_buf[row_buf_idx]);
	                             osMutexRelease(printfMutexHandle);

	                             uint32_t t_elapsed_us = (DWT_CYCCNT - t_start) / (SystemCoreClock / 1000000);

	                             static uint16_t dbg_counter = 0;
	                             if (++dbg_counter >= 20)
	                             {
	                                 dbg_counter = 0;
	                                 osMutexWait(printfMutexHandle, osWaitForever);
	                                 printf("[row took %luus]\r\n", (unsigned long)t_elapsed_us);
	                                 osMutexRelease(printfMutexHandle);
	                             }

	                             row_buf_idx = (row_buf_idx + 1) % 4;
	      }

	      capture_active = 0;

	      osMutexWait(printfMutexHandle, osWaitForever);
	      printf("=== CAPTURE END: %s ===\r\n", label);
	      osMutexRelease(printfMutexHandle);
	  }
  /* USER CODE END StartCaptureTask */
}

void StartInferenceTask(void const * argument)
{
  /* USER CODE BEGIN StartInferenceTask */
	float input_signal[NEAI_INPUT_SIGNAL_LENGTH * NEAI_INPUT_AXIS_NUMBER];
		  float probabilities[NEAI_NUMBER_OF_CLASSES];
		  int id_class;
		  enum neai_state state;

		  for(;;)
		  {
		      osSemaphoreWait(captureDataReadyHandle, osWaitForever);

		      /* Only run inference when NOT in an active training capture
		       * session. CaptureTask and InferenceTask share the same
		       * capture-buffer/semaphore pair; during a capture, CaptureTask
		       * owns that data exclusively (streaming it for NanoEdge Studio
		       * training), so InferenceTask must skip processing to avoid
		       * silently splitting windows between the two consumers. */
		      if (capture_active)
		      {
		          continue;
		      }

		      uint8_t idx = capture_ready_idx;

		      for (int i = 0; i < CAPTURE_BUF_SIZE; i++)
		      {
		          input_signal[i * 3 + 0] = (float)capture_buf_x[idx][i];
		          input_signal[i * 3 + 1] = (float)capture_buf_y[idx][i];
		          input_signal[i * 3 + 2] = (float)capture_buf_z[idx][i];
		      }

		      state = neai_classification(input_signal, probabilities, &id_class);

		      if (state == NEAI_OK)
		      {
		          const char* class_names[] = {"obstruction", "imbalance", "healthy"};

		          osMutexWait(printfMutexHandle, osWaitForever);
		          printf("Fault class: %s (%.1f%%)\r\n",
		                 class_names[id_class],
		                 probabilities[id_class] * 100.0f);
		          osMutexRelease(printfMutexHandle);

		          /* Grab the latest DHT11 temperature reading under its mutex,
		           * combine integer/decimal parts into a single float. */
		          osMutexWait(diagnosticsMutexHandle, osWaitForever);
		          float temp_c = diagnostics.temp_int + (diagnostics.temp_dec / 10.0f);
		          osMutexRelease(diagnosticsMutexHandle);

		          /* Build the JSON line for the ESP32 gateway and send over
		           * USART3. Class index mapping matches class_names[] above:
		           * 0=obstruction, 1=imbalance, 2=healthy. */
		          char uart3_msg[160];
		          int len = sprintf(uart3_msg,
		              "{\"fault_class\":\"%s\",\"confidence\":%.2f,"
		              "\"healthy\":%.2f,\"imbalance\":%.2f,\"obstruction\":%.2f,"
		              "\"temp_c\":%.1f}\n",
		              class_names[id_class], probabilities[id_class],
		              probabilities[2], probabilities[1], probabilities[0],
		              temp_c);
		          HAL_UART_Transmit(&huart3, (uint8_t*)uart3_msg, len, HAL_MAX_DELAY);
		      }
		  }
  /* USER CODE END StartInferenceTask */
}

void HAL_TIM_PeriodElapsedCallback(TIM_HandleTypeDef *htim)
{
  if (htim->Instance == TIM6)
  {
    HAL_IncTick();
  }
}

void Error_Handler(void)
{
  __disable_irq();
  while (1)
  {
  }
}

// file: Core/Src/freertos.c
/* USER CODE BEGIN Header */
/**
  ******************************************************************************
  * File Name          : freertos.c
  * Description        : Code for freertos applications
  ******************************************************************************
  * @attention
  *
  * Copyright (c) 2026 STMicroelectronics.
  * All rights reserved.
  *
  * This software is licensed under terms that can be found in the LICENSE file
  * in the root directory of this software component.
  * If no LICENSE file comes with this software, it is provided AS-IS.
  *
  ******************************************************************************
  */
/* USER CODE END Header */

#include "FreeRTOS.h"
#include "task.h"
#include "main.h"

/* GetIdleTaskMemory prototype (linked to static allocation support) */
void vApplicationGetIdleTaskMemory( StaticTask_t **ppxIdleTaskTCBBuffer, StackType_t **ppxIdleTaskStackBuffer, uint32_t *pulIdleTaskStackSize );

/* Hook prototypes */
void vApplicationStackOverflowHook(xTaskHandle xTask, signed char *pcTaskName);

/* USER CODE BEGIN 4 */
__weak void vApplicationStackOverflowHook(xTaskHandle xTask, signed char *pcTaskName)
{
   /* Run time stack overflow checking is performed if
   configCHECK_FOR_STACK_OVERFLOW is defined to 1 or 2. This hook function is
   called if a stack overflow is detected. */
}
/* USER CODE END 4 */

/* USER CODE BEGIN GET_IDLE_TASK_MEMORY */
static StaticTask_t xIdleTaskTCBBuffer;
static StackType_t xIdleStack[configMINIMAL_STACK_SIZE];

void vApplicationGetIdleTaskMemory( StaticTask_t **ppxIdleTaskTCBBuffer, StackType_t **ppxIdleTaskStackBuffer, uint32_t *pulIdleTaskStackSize )
{
  *ppxIdleTaskTCBBuffer = &xIdleTaskTCBBuffer;
  *ppxIdleTaskStackBuffer = &xIdleStack[0];
  *pulIdleTaskStackSize = configMINIMAL_STACK_SIZE;
  /* place for user code */
}
/* USER CODE END GET_IDLE_TASK_MEMORY */
